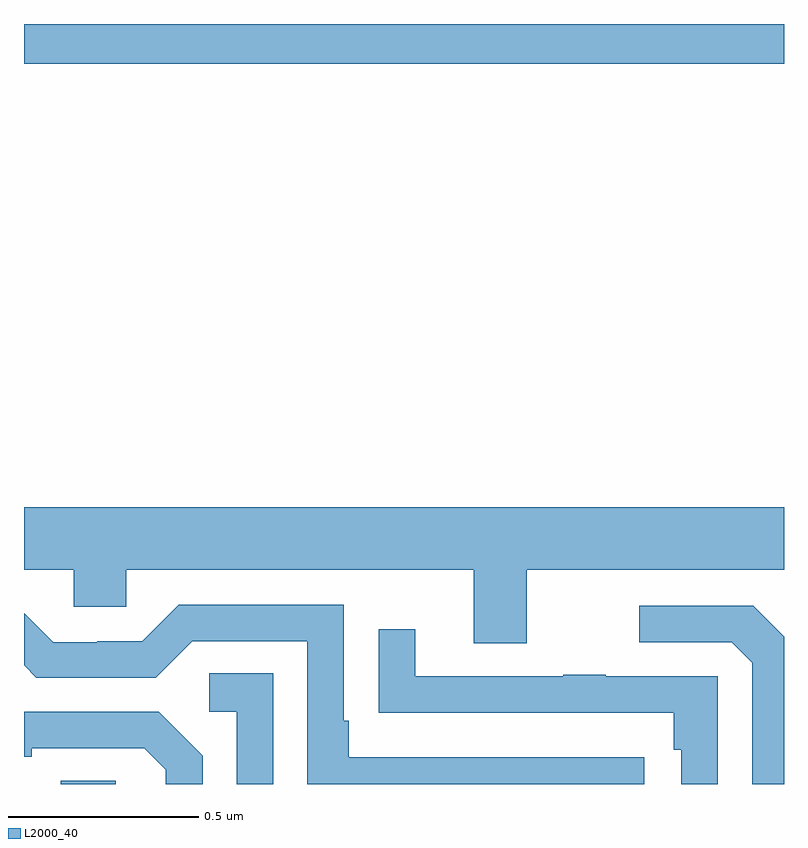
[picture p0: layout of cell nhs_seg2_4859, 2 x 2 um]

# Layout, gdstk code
import gdstk
lib = gdstk.Library(unit=1e-6, precision=1e-09)
def R(c, l, rs):  # rectangles x0, y0, x1, y1
    for r in rs: c.add(gdstk.rectangle(r[:2], r[2:], *l))
def P(c, l, *ps):  # polygons
    for p in ps: c.add(gdstk.Polygon(p, *l))
L2000_40 = (2000, 40)

nhs_seg2_4859 = lib.new_cell('nhs_seg2_4859')
R(nhs_seg2_4859, L2000_40, [(172.097,585.8,172.242,585.809), (172,587.696,174,587.8)])
P(nhs_seg2_4859, L2000_40, [(173.323,586.364),(174,586.364),(174,586.528),(172,586.528),(172,586.364),(172.131,586.364),(172.131,586.266),(172.269,586.266),(172.269,586.364),(173.183,586.364),(173.183,586.17),(173.323,586.17)],
  [(173.632,585.87),(172.855,585.87),(172.855,585.967),(172.842,585.967),(172.842,586.272),(172.407,586.272),(172.311,586.176),(172.193,586.176),(172.193,586.173),(172.077,586.173),(172,586.25),(172,586.112),(172.032,586.08),(172.347,586.08),(172.443,586.176),(172.746,586.176),(172.746,585.8),(173.632,585.8)],
  [(174,586.188),(173.919,586.269),(173.619,586.269),(173.619,586.173),(173.862,586.173),(173.916,586.119),(173.916,585.8),(174,585.8)],
  [(173.826,586.083),(173.531,586.083),(173.531,586.088),(173.419,586.088),(173.419,586.083),(173.029,586.083),(173.029,586.207),(172.933,586.207),(172.933,585.988),(173.035,585.988),(173.035,585.987),(173.71,585.987),(173.71,585.89),(173.73,585.89),(173.73,585.8),(173.826,585.8)],
  [(172.656,586.091),(172.488,586.091),(172.488,585.99),(172.56,585.99),(172.56,585.8),(172.656,585.8)],
  [(172.47,585.874),(172.354,585.99),(172,585.99),(172,585.872),(172.021,585.872),(172.021,585.894),(172.316,585.894),(172.373,585.837),(172.373,585.8),(172.47,585.8)])

lib.write_gds('nhs_seg2_4859.gds')
